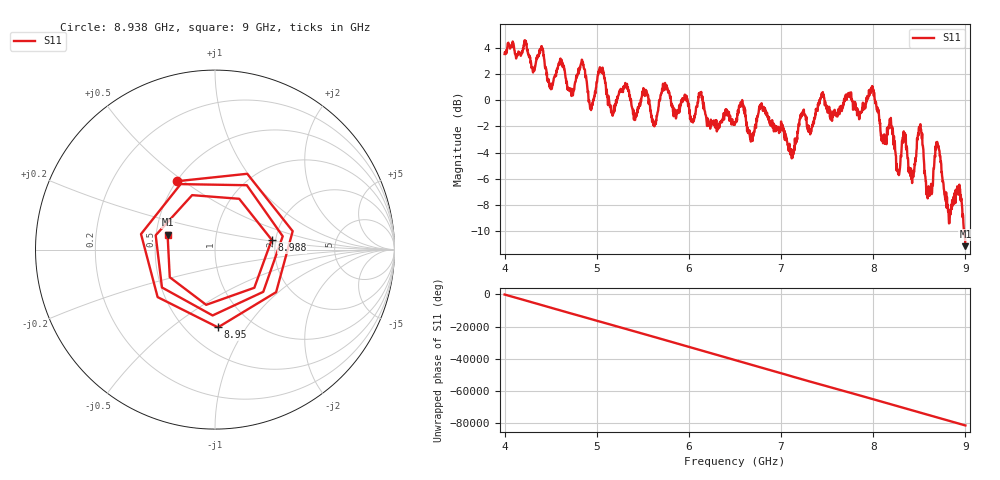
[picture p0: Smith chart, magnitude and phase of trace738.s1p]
! Created with skrf 1.8.0 (http://scikit-rf.org).
# Hz S RI R 50.0
!freq ReS11 ImS11
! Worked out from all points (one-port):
!   1601 points, 4 GHz to 9 GHz, reference 50 ohm
!   lowest |S11| = -11.2 dB at 9 GHz (marker M1), VSWR 1.77, Z = 28.8 + j5.17 ohm
!   |S11| at or under -10 dB: 8.983472 GHz to 8.985513 GHz (2.041 MHz wide, 0.0227 % of centre); 8.988856 GHz to end of sweep
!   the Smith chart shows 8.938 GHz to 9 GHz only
!   S11 on the Smith chart (normalised r, x): 8.938 GHz: 0.50, +0.47; 8.95 GHz: 0.70, -0.75; 8.988 GHz: 1.91, +0.23; 9 GHz: 0.58, +0.10
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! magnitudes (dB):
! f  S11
! 4 GHz  3.5
! 4.4 GHz  4.1
! 4.503 GHz  0.8
! 4.625 GHz  2.9
! 4.722 GHz  0.5
! 4.847 GHz  2.9
! 4.934 GHz  -0.5
! 5.044 GHz  2.3
! 5.159 GHz  -0.9
! 5.25 GHz  0.7
! 5.875 GHz  -0.7
! 6.5 GHz  -1.7
! 6.8 GHz  -0.6
! 7.125 GHz  -4.4
! 7.234 GHz  -0.9
! 7.75 GHz  0.3
! 7.988 GHz  1.1
! 8.269 GHz  -5.6
! 8.375 GHz  -4.4
! 8.428 GHz  -5.5
! 8.506 GHz  -2.1
! 8.6 GHz  -6.6
! 8.7 GHz  -3.3
! 8.819 GHz  -8.9
! 8.938 GHz  -7.2
! 8.95 GHz  -7.3
! 8.988 GHz  -9.9
! 9 GHz  -11.2
